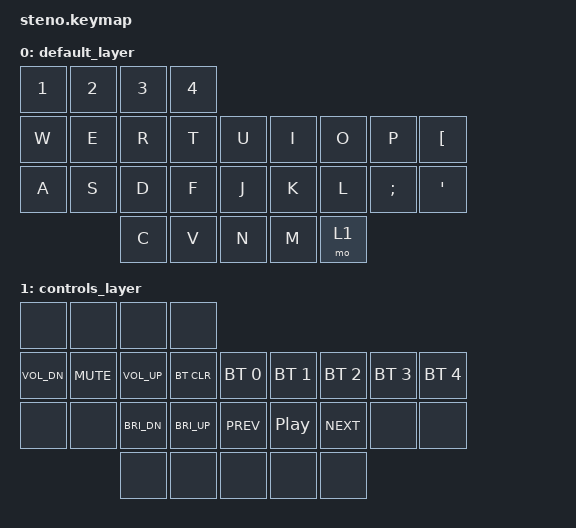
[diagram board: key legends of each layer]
#include <behaviors.dtsi>
#include <dt-bindings/zmk/keys.h>
#include <dt-bindings/zmk/bt.h>

/ {
    keymap {
        compatible = "zmk,keymap";

        default_layer {
            bindings = <
                &kp N1       &kp N2       &kp N3       &kp N4
                &kp W        &kp E        &kp R        &kp T        &kp U        &kp I        &kp O        &kp P        &kp LBKT
                &kp A        &kp S        &kp D        &kp F        &kp J        &kp K        &kp L        &kp SEMI     &kp APOS
                                            &kp C        &kp V        &kp N        &kp M        &mo 1       // Toggle to controls_layer
            >;
        };

        controls_layer { // Layer 1: Media, Brightness, Volume, Bluetooth
            bindings = <
                &none       &none       &none       &none
                &kp C_VOL_DN &kp C_MUTE   &kp C_VOL_UP &bt BT_CLR   &bt BT_SEL 0 &bt BT_SEL 1 &bt BT_SEL 2 &bt BT_SEL 3 &bt BT_SEL 4
                &none       &none       &kp C_BRI_DN &kp C_BRI_UP &kp C_PREV   &kp C_PLAY_PAUSE &kp C_NEXT &none      &none
                                            &none       &none       &none       &none       &none       // Return to default_layer
            >;
        };
    };
};
